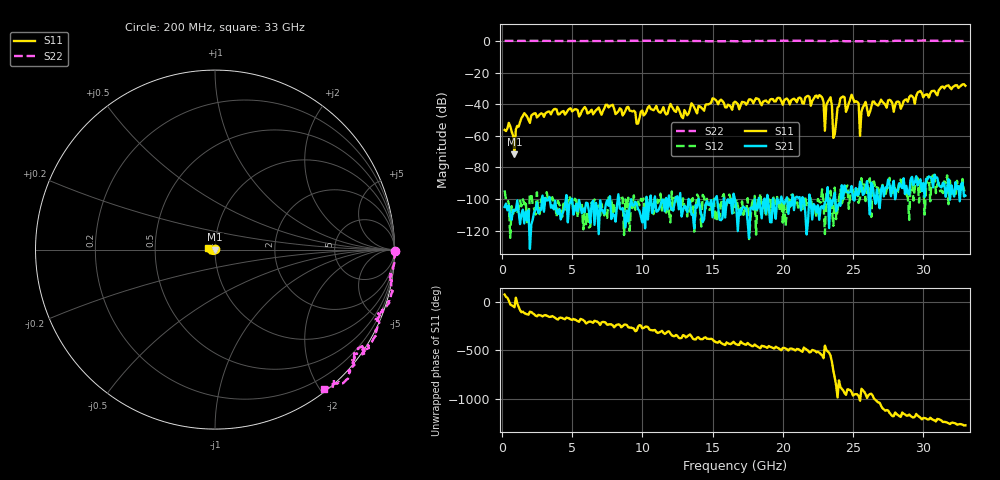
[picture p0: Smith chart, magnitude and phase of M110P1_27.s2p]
# GHZ S RI R 50
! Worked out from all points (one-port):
!   329 points, 200 MHz to 33 GHz, reference 50 ohm
!   lowest |S11| = -71.7 dB at 900 MHz (marker M1), VSWR 1.00, Z = 50 - j0.0211 ohm
!   |S11| at or under -10 dB: start of sweep to end of sweep
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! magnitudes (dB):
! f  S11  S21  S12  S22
! 200 MHz  -56.2  -104.9  -94.4  0.0
! 600 MHz  -53.9  -111.0  -124.5  0.0
! 900 MHz  -71.7  -107.5  -106.7  0.0
! 1 GHz  -56.0  -107.0  -109.2  0.0
! 1.6 GHz  -45.7  -115.4  -103.2  0.0
! 5.7 GHz  -44.2  -108.9  -103.7  -0.1
! 11.2 GHz  -45.0  -106.2  -101.0  0.1
! 16.6 GHz  -38.3  -100.4  -105.1  -0.2
! 22.1 GHz  -38.0  -112.9  -105.7  0.1
! 22.8 GHz  -35.8  -104.5  -93.8  -0.1
! 23 GHz  -56.8  -102.1  -122.1  0.1
! 23.1 GHz  -40.6  -100.8  -96.6  0.0
! 23.4 GHz  -35.6  -100.5  -94.7  -0.3
! 23.6 GHz  -61.3  -100.0  -116.9  0.0
! 24.2 GHz  -35.6  -91.2  -102.8  -0.1
! 25.4 GHz  -39.5  -97.2  -102.4  -0.3
! 25.5 GHz  -60.0  -88.9  -99.1  -0.3
! 25.6 GHz  -44.7  -91.5  -86.8  -0.3
! 25.9 GHz  -38.5  -92.8  -101.2  -0.2
! 26.1 GHz  -47.3  -97.9  -90.6  -0.2
! 27.6 GHz  -37.2  -90.6  -86.5  -0.1
! 33 GHz  -28.4  -97.8  -94.4  -0.1
